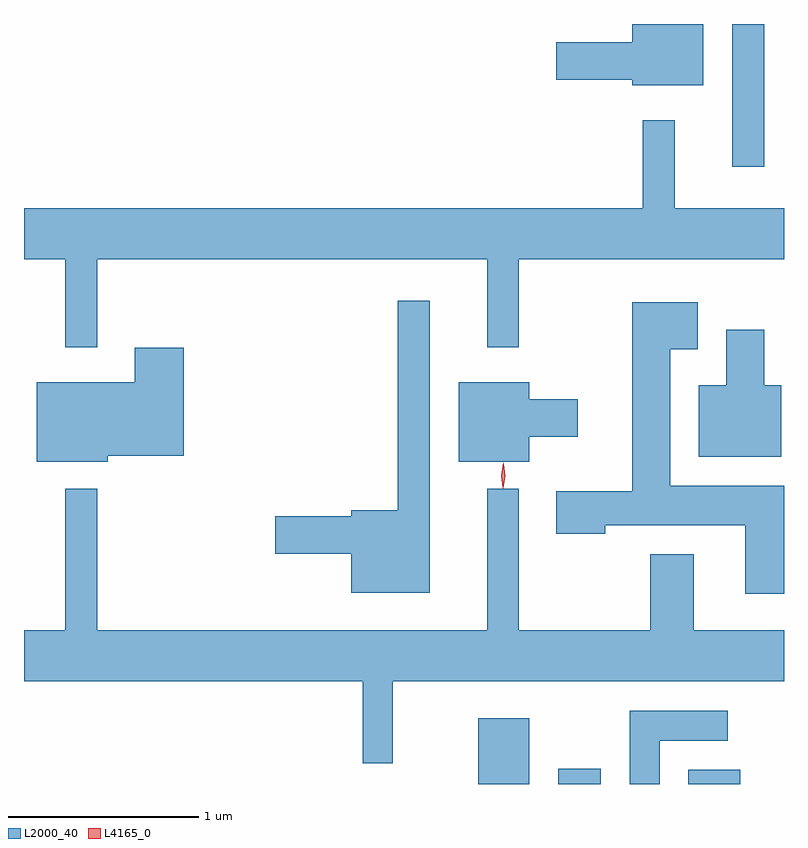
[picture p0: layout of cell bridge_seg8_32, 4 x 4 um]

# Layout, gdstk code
import gdstk
lib = gdstk.Library(unit=1e-6, precision=1e-09)
def R(c, l, rs):  # rectangles x0, y0, x1, y1
    for r in rs: c.add(gdstk.rectangle(r[:2], r[2:], *l))
def P(c, l, *ps):  # polygons
    for p in ps: c.add(gdstk.Polygon(p, *l))
L2000_40 = (2000, 40)
L4165_0 = (4165, 0)

bridge_seg8_32 = lib.new_cell('bridge_seg8_32')
R(bridge_seg8_32, L2000_40, [(1488.766,1935.774,1489.034,1936.119), (1489.186,1935.774,1489.409,1935.854), (1489.871,1935.774,1490.144,1935.849), (1490.101,1939.023,1490.269,1939.774)])
P(bridge_seg8_32, L2000_40, [(1489.949,1939.774),(1489.576,1939.774),(1489.576,1939.679),(1489.176,1939.679),(1489.176,1939.481),(1489.576,1939.481),(1489.576,1939.451),(1489.949,1939.451)],
  [(1486.374,1938.536),(1486.591,1938.536),(1486.591,1938.073),(1486.759,1938.073),(1486.759,1938.536),(1488.811,1938.536),(1488.811,1938.073),(1488.979,1938.073),(1488.979,1938.536),(1490.374,1938.536),(1490.374,1938.804),(1489.799,1938.804),(1489.799,1939.268),(1489.631,1939.268),(1489.631,1938.804),(1486.374,1938.804)],
  [(1488.509,1938.318),(1488.341,1938.318),(1488.341,1937.214),(1488.096,1937.214),(1488.096,1937.184),(1487.696,1937.184),(1487.696,1936.986),(1488.096,1936.986),(1488.096,1936.781),(1488.509,1936.781)],
  [(1490.374,1937.344),(1489.774,1937.344),(1489.774,1938.061),(1489.919,1938.061),(1489.919,1938.309),(1489.576,1938.309),(1489.576,1937.314),(1489.176,1937.314),(1489.176,1937.091),(1489.434,1937.091),(1489.434,1937.136),(1490.171,1937.136),(1490.171,1936.776),(1490.374,1936.776)],
  [(1490.359,1937.874),(1490.269,1937.874),(1490.269,1938.164),(1490.071,1938.164),(1490.071,1937.874),(1489.926,1937.874),(1489.926,1937.496),(1490.359,1937.496)],
  [(1486.814,1937.501),(1487.214,1937.501),(1487.214,1938.069),(1486.956,1938.069),(1486.956,1937.889),(1486.441,1937.889),(1486.441,1937.471),(1486.814,1937.471)],
  [(1489.034,1937.601),(1489.289,1937.601),(1489.289,1937.799),(1489.034,1937.799),(1489.034,1937.889),(1488.661,1937.889),(1488.661,1937.471),(1489.034,1937.471)],
  [(1488.314,1936.316),(1490.374,1936.316),(1490.374,1936.584),(1489.899,1936.584),(1489.899,1936.984),(1489.671,1936.984),(1489.671,1936.584),(1488.979,1936.584),(1488.979,1937.328),(1488.811,1937.328),(1488.811,1936.584),(1486.759,1936.584),(1486.759,1937.328),(1486.591,1937.328),(1486.591,1936.584),(1486.374,1936.584),(1486.374,1936.316),(1488.156,1936.316),(1488.156,1935.883),(1488.314,1935.883)],
  [(1489.719,1936.001),(1490.078,1936.001),(1490.078,1936.159),(1489.561,1936.159),(1489.561,1935.774),(1489.719,1935.774)])
P(bridge_seg8_32, L4165_0, [(1488.895,1937.333),(1488.895,1937.333),(1488.886,1937.397),(1488.897,1937.46),(1488.897,1937.46),(1488.898,1937.46),(1488.906,1937.396),(1488.896,1937.333)],
  [(1488.897,1937.329),(1488.896,1937.33),(1488.887,1937.397),(1488.896,1937.465),(1488.897,1937.466),(1488.897,1937.465),(1488.907,1937.397),(1488.897,1937.33)])

lib.write_gds('bridge_seg8_32.gds')
